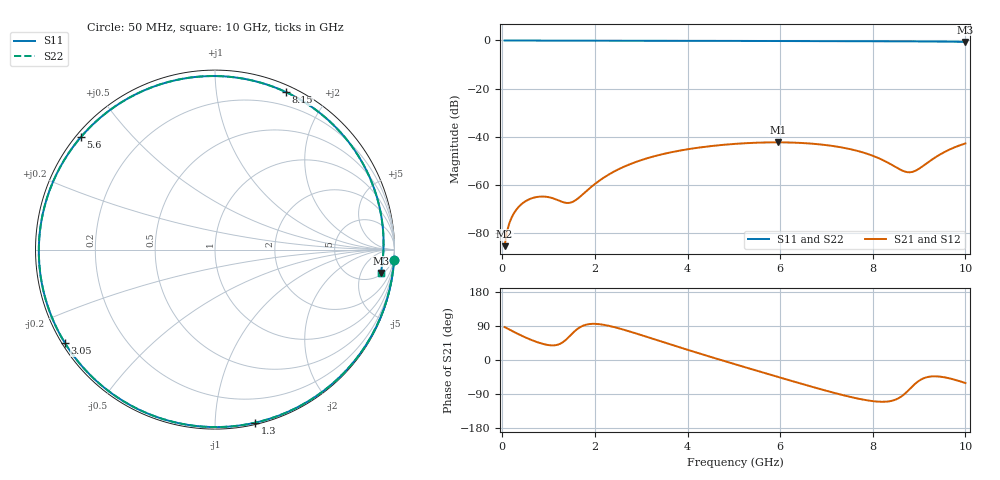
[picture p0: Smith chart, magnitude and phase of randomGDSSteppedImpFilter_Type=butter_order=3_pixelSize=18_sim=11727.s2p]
! freq	dB(S11)	phase(S11)	dB(S12)	phase(S12)
!  dB(S21)	phase(S21)	dB(S22)	phase(S22)
!S-par simulation data
#  GHz  S  DB  R 50
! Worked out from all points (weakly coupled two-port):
!   200 points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, 50 MHz to 10 GHz, reference 50 ohm
!   highest |S21| = -42.23 dB at 5.95 GHz (marker M1); lowest = -85.3 dB at 50 MHz (marker M2)
!   lowest |S11| = -0.6 dB at 10 GHz (marker M3), VSWR 28.85, Z = 282 - j571 ohm
!   |S11| at or under -10 dB: nowhere
!   |S22| runs from -0.6 to 0.0 dB; largest |S21 - S12| = 0
!   S11 on the Smith chart (normalised r, x): 50 MHz: 0, -35; 1.3 GHz: 0.01, -1.26; 3.05 GHz: 0.01, -0.29; 5.6 GHz: 0.01, +0.36; 8.15 GHz: 0.06, +1.55; 10 GHz: 6, -11
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0.05  -0.00 -3.2  -85.28 86.9  -85.28 86.9  -0.00 -3.2
0.1  -0.01 -6.4  -79.31 83.7  -79.31 83.7  -0.01 -6.4
0.3  -0.03 -19.1  -70.22 71.2  -70.22 71.2  -0.03 -19.1
0.55  -0.04 -34.6  -66.12 56.9  -66.12 56.9  -0.04 -34.6
0.9  -0.07 -55.2  -64.72 41.8  -64.72 41.8  -0.07 -55.2
1.3  -0.09 -76.8  -66.96 46.3  -66.96 46.3  -0.09 -76.8
1.5  -0.09 -86.8  -67.06 68.6  -67.06 68.6  -0.10 -86.8
1.75  -0.10 -98.5  -63.59 90.8  -63.59 90.8  -0.10 -98.5
2.35  -0.12 -123.4  -55.01 88.8  -55.01 88.8  -0.12 -123.4
3.05  -0.13 -148.0  -49.29 63.9  -49.29 63.9  -0.13 -148.0
3.4  -0.14 -159.1  -47.42 50.2  -47.42 50.2  -0.14 -159.1
4.2  -0.16 177.6  -44.53 19.4  -44.53 19.4  -0.16 177.6
5.05  -0.19 154.6  -42.84 -12.1  -42.84 -12.1  -0.19 154.6
5.6  -0.22 139.9  -42.32 -32.0  -42.32 -32.0  -0.22 139.9
5.95  -0.23 130.5  -42.23 -44.6  -42.23 -44.6  -0.23 130.5
6.7  -0.26 109.9  -42.80 -71.1  -42.80 -71.1  -0.26 109.9
7.45  -0.30 87.9  -44.80 -95.5  -44.80 -95.5  -0.30 87.9
8.15  -0.33 65.7  -48.99 -110.2  -48.99 -110.2  -0.33 65.7
8.35  -0.34 58.9  -50.91 -109.1  -50.91 -109.1  -0.35 58.9
8.85  -0.39 41.0  -54.51 -70.2  -54.51 -70.2  -0.39 41.0
9.5  -0.47 15.0  -46.76 -44.7  -46.76 -44.7  -0.47 15.0
10  -0.60 -8.1  -42.71 -60.8  -42.71 -60.8  -0.60 -8.1
